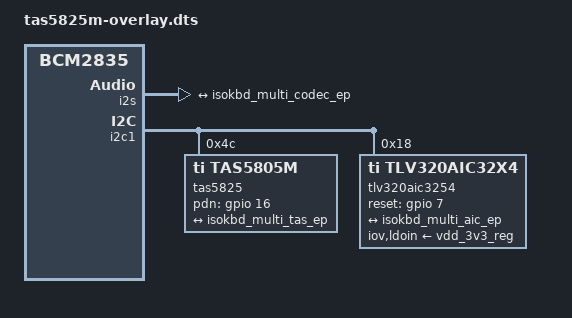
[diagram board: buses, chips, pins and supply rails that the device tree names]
// Definitions for using tas5825m (speakers) and tlv320aic3254 (headphones)
//
// Both codecs hang off the one I2S bus and are declared as a single
// audio-graph-card2 multi-codec link, so they share one PCM device and both
// chips are clocked and streaming continuously.  Selecting an output is then a
// mixer write on an already-running codec rather than closing one PCM device
// and opening another.  See fragment@5 for why simple-audio-card cannot
// express this and what the arrangement costs.
//
// The aic3254 has no MCLK routed to it on this board; it derives its clocks
// from BCLK via its PLL, which requires the Pi to stay bitclock/frame master
// so that BCLK keeps running while the codec is streaming.
//
// The aic3254 is reset over GPIO 7, which bcm2711-rpi-cm4.dts hands to SPI0 as
// chip select CE1.  SPI0 claims the pin first and the codec then fails to
// probe with -EBUSY, so CE1 is released here in the same way the stock
// spi0-1cs overlay does.  Only CE0 is used on this board.
/dts-v1/;
/plugin/;

/ {
	compatible = "brcm,bcm2835";

	fragment@0 {
		target = <&i2s>;
		__overlay__ {
			status = "okay";
		};
	};

	/* Release GPIO 7 (SPI0 CE1) for use as the aic3254 reset line. */
	fragment@1 {
		target = <&spi0_cs_pins>;
		__overlay__ {
			brcm,pins = <8>;
		};
	};

	fragment@2 {
		target = <&spi0>;
		__overlay__ {
			cs-gpios = <&gpio 8 1>;
		};
	};

	fragment@3 {
		target = <&spidev1>;
		__overlay__ {
			status = "disabled";
		};
	};

	fragment@4 {
		target = <&i2c1>;
		__overlay__ {
			#address-cells = <1>;
			#size-cells = <0>;
			status = "okay";

			tas5825: tas5825@4c {
				#sound-dai-cells = <0>;
				compatible = "ti,tas5805m";
				reg = <0x4c>;
				pdn-gpios = <&gpio 16 0>;
				status = "okay";
			};

			tlv320aic3254: tlv320aic3254@18 {
				#sound-dai-cells = <0>;
				compatible = "ti,tlv320aic32x4";
				reg = <0x18>;
				reset-gpios = <&gpio 7 0>;

				/*
				 * No clocks/clock-names: there is no MCLK on
				 * this board, so the driver runs the PLL from
				 * BCLK.
				 *
				 * LDOIN is fed from 3V3 and the internal LDOs
				 * generate AVDD/DVDD, so only iov and ldoin
				 * are supplied here.
				 */
				iov-supply = <&vdd_3v3_reg>;
				ldoin-supply = <&vdd_3v3_reg>;

				status = "okay";
			};
		};
	};

	/*
	 * One DAI link carrying both codecs, so they share a single PCM device.
	 *
	 * This is audio-graph-card2 rather than simple-audio-card for exactly
	 * one reason: simple-card.c hardcodes li->num[].codecs = 1 (lines 587
	 * and 617), so no device tree can give it two codecs on one link.
	 * audio-graph-card2 counts them with graph_counter() instead and
	 * supports a real multi-codec link.
	 *
	 * Why that matters is not the wiring -- both chips have always shared
	 * the I2S lines -- but what ASoC does with it. As two links they are two
	 * PCM devices, and only one can be open at a time behind the single I2S
	 * block, so switching means closing one and opening the other. Worse,
	 * the idle codec's link is not running at all: the aic3254 has no MCLK
	 * on this board and runs its PLL from BCLK, so with no stream on its
	 * link its clocks are down and unmuting it produces silence, not audio.
	 *
	 * On one link ASoC applies hw_params and trigger to every codec DAI, so
	 * both chips are clocked and streaming continuously and selecting an
	 * output is a mixer write on an already-running codec. No reopen, no
	 * fluidsynth restart, nothing added to the real-time path.
	 *
	 * The cost, accepted deliberately: in the playback direction
	 * soc_pcm_hw_update_format() intersects the formats of every codec on
	 * the link (soc-pcm.c:553), so the tas5805m pins the link to S32_LE at
	 * 48kHz even for headphone-only playback. The synth runs at 48kHz
	 * anyway and plug converts. Capture is unaffected:
	 * snd_soc_runtime_calc_hw() skips codecs that do not support the
	 * stream's direction (soc-pcm.c:607), so the playback-only amplifier
	 * drops out of a capture stream and only the aic3254 constrains it.
	 *
	 * No per-codec "prefix" here. audio-graph-card2 does parse one, but
	 * only for DPCM back-ends -- the gtype == GRAPH_DPCM gate at
	 * audio-graph-card2.c:487, which a multi link never reaches because
	 * __graph_get_type() folds GRAPH_MULTI into GRAPH_NORMAL (line 294). A
	 * prefix property would be silently ignored. It is not needed: the two
	 * codecs' control names are already distinct, "Master Playback Volume"
	 * and "Master Playback Switch" on the amplifier against "PCM Playback
	 * Volume" and "HP DAC Playback Switch" on the codec.
	 */
	fragment@5 {
		target = <&sound>;
		__overlay__ {
			status = "okay";
			compatible = "audio-graph-card2";

			/*
			 * One word, deliberately. ALSA derives the card id --
			 * what aplay -D, asound.conf and amixer -c match on --
			 * from this with retrieve_id_from_card_name(), which
			 * takes the last whitespace-separated word
			 * (sound/core/init.c:676). "IsoKbd Audio" therefore
			 * gave the id "Audio", which is both uninformative and
			 * liable to collide; a colliding id silently gets a
			 * "_1" suffix (init.c:752) and every reference to it by
			 * name then misses.
			 */
			label = "IsoKbd";

			links = <&isokbd_i2s_port>;

			/*
			 * Pin both outputs as DAPM endpoints that are always
			 * connected. Without this nothing downstream of either
			 * DAC is ever powered: the codec stays at bias level
			 * Off with its PLL, NDAC and MDAC down even while the
			 * PCM says it is running.
			 *
			 * Both are pinned, not just the selected one, because
			 * the whole point of the shared link is that both chips
			 * stay live and selection is a mixer write. The
			 * DAC-to-output-mixer switches are still runtime mixer
			 * controls and default to off; those are set from the
			 * saved ALSA state rather than here.
			 */
			widgets = "Headphone", "Headphone Jack",
				  "Speaker",   "Speakers";
			routing = "Headphone Jack", "HPL",
				  "Headphone Jack", "HPR",
				  "Speakers",       "OUT";

			/*
			 * Two things here are load-bearing and neither is
			 * obvious. Both were found on hardware, by tracing the
			 * parse; both fail the same silent way, with the card
			 * simply absent and "Neither Component name/of_node
			 * are set" in dmesg.
			 *
			 * 1. Only the codec side is multi. The CPU side is the
			 *    I2S node's own port, named directly by "links".
			 *    Wrapping the single CPU in its own multi {}
			 *    ports@0 does not bind -- identically with one
			 *    codec as with two, so it is the CPU side at fault
			 *    rather than the codec count.
			 *
			 * 2. The ports are declared in REVERSE order, port@2
			 *    first and port@0 last. __of_attach_node() inserts
			 *    each overlay node at the HEAD of its parent's
			 *    child list (drivers/of/dynamic.c: "np->sibling =
			 *    np->parent->child"), so the sibling chain comes
			 *    out in reverse declaration order. Declared 0,1,2
			 *    the chain starts at port@0 and immediately ends:
			 *    graph_get_next_multi_ep() asks for port@0's next
			 *    sibling, gets NULL, and both codec slots are left
			 *    empty.
			 *
			 * The second one is worth dwelling on, because the
			 * device tree looks perfect either way -- /proc shows
			 * all three ports with resolving remote-endpoints --
			 * and because graph_counter() disagrees with the walk.
			 * Counting uses of_graph_get_endpoint_count(), which
			 * searches by name and finds all three; parsing walks
			 * prev->sibling from port@0 and finds none. That gap
			 * is what "codecs=2" alongside "idx 0: no more
			 * endpoints" means, and it is why the count and the
			 * parse can disagree about the same node.
			 *
			 * This affects overlays only. A codec pair spelled the
			 * same way inside a base DTS needs no reversal.
			 */
			multi {
				/*
				 * port@0 is the link itself -- the far end of
				 * the CPU's endpoint -- and the ports after it
				 * are the codecs. graph_counter() returns the
				 * endpoint count minus that first one, so this
				 * is two codecs.
				 */
				ports {
					#address-cells = <1>;
					#size-cells = <0>;

					/*
					 * Declared last-to-first on purpose. See
					 * the comment above: the kernel
					 * prepends each overlay node to its
					 * parent's child list, so the sibling
					 * chain ends up in reverse declaration
					 * order, and this is what puts port@0
					 * at the head with port@1 and port@2
					 * after it.
					 */
					/* The headphone codec. */
					port@2 {
						reg = <2>;
						isokbd_multi_aic_ep: endpoint {
							remote-endpoint = <&isokbd_aic_ep>;
						};
					};
					/* The amplifier. */
					port@1 {
						reg = <1>;
						isokbd_multi_tas_ep: endpoint {
							remote-endpoint = <&isokbd_tas_ep>;
						};
					};
					port@0 {
						reg = <0>;
						isokbd_multi_codec_ep: endpoint {
							remote-endpoint = <&isokbd_i2s_ep>;
						};
					};
				};
			};
		};
	};

	/*
	 * The Pi stays bitclock and frame master. That is not a preference: the
	 * aic3254 has no MCLK routed on this board and derives everything from
	 * BCLK through its PLL, so BCLK has to keep running whenever the codec
	 * is streaming.
	 */
	fragment@6 {
		target = <&i2s>;
		__overlay__ {
			isokbd_i2s_port: port {
				bitclock-master;
				frame-master;
				dai-format = "i2s";

				isokbd_i2s_ep: endpoint {
					remote-endpoint = <&isokbd_multi_codec_ep>;
				};
			};
		};
	};

	fragment@7 {
		target = <&tas5825>;
		__overlay__ {
			port {
				isokbd_tas_ep: endpoint {
					remote-endpoint = <&isokbd_multi_tas_ep>;
				};
			};
		};
	};

	fragment@8 {
		target = <&tlv320aic3254>;
		__overlay__ {
			port {
				isokbd_aic_ep: endpoint {
					remote-endpoint = <&isokbd_multi_aic_ep>;
				};
			};
		};
	};
};
